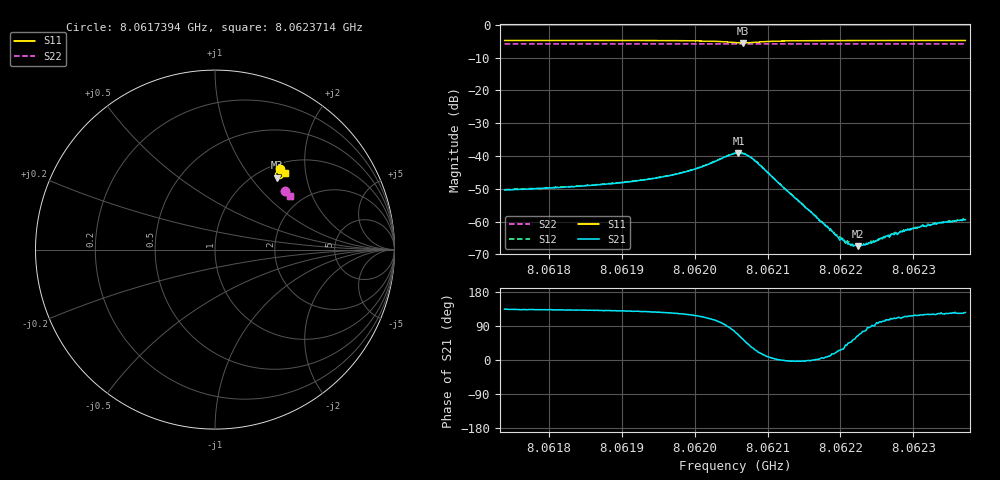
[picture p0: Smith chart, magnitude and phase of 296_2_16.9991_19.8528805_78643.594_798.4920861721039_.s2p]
#  HZ  S  RI  R  50.00
! Rohde & Schwarz Vector Network Analyzer
! Rohde-Schwarz,ZNB20-2Port,1311601062101988,3.16
! Created: UTC 3/20/2024, 11:05:18 PM
! freq[Hz]  re:S11  im:S11  re:S21  im:S21  re:S12  im:S12  re:S22  im:S22
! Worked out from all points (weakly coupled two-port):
!   401 points, 8.0617394 GHz to 8.0623714 GHz, reference 50 ohm
!   highest |S21| = -39.13 dB at 8.0620601 GHz (marker M1); lowest = -67.5 dB at 8.0622245 GHz (marker M2)
!   lowest |S11| = -5.5 dB at 8.0620664 GHz (marker M3), VSWR 3.25, Z = 61.1 + j68 ohm
!   |S11| at or under -10 dB: nowhere
!   |S22| runs from -5.9 to -5.8 dB; largest |S21 - S12| = 0.0009
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8.06173937e9  0.3605 0.449  -0.00211 0.00217  -0.00197 0.00235  0.3926 0.3278
8.06184523e9  0.368 0.4427  -0.00229 0.0026  -0.00219 0.00277  0.3966 0.3225
8.06190844e9  0.3728 0.4378  -0.00251 0.00311  -0.00241 0.00329  0.399 0.3193
8.0619511e9  0.3766 0.4331  -0.00276 0.00379  -0.00255 0.00401  0.4005 0.317
8.06200166e9  0.3809 0.4226  -0.00292 0.00569  -0.00256 0.00588  0.4024 0.3142
8.06205538e9  0.3605 0.3956  0.00303 0.0105  0.00367 0.0104  0.4028 0.3106
8.06206012e9  0.3537 0.3963  0.0045 0.0101  0.00514 0.00989  0.4029 0.3106
8.06206644e9  0.3452 0.4008  0.00632 0.00884  0.00692 0.00848  0.4027 0.3106
8.06207592e9  0.3381 0.4128  0.00771 0.00583  0.00813 0.00536  0.4029 0.3108
8.06208382e9  0.3383 0.4229  0.00741 0.00353  0.00774 0.0031  0.4034 0.3109
8.06212333e9  0.3576 0.4394  0.00317 -6.76e-05  0.00317 -0.000322  0.4058 0.3095
8.06216125e9  0.3679 0.4384  0.00135 -1.25e-05  0.00137 -9.75e-05  0.4076 0.3074
8.06218179e9  0.3715 0.4369  0.000821 0.000113  0.000851 6.74e-05  0.4084 0.3065
8.06219759e9  0.3737 0.4361  0.000501 0.000235  0.000542 0.000224  0.4091 0.3058
8.06221023e9  0.3752 0.4352  0.000326 0.000314  0.000372 0.000279  0.4096 0.3049
8.06221655e9  0.3758 0.4348  0.000277 0.000357  0.000272 0.000335  0.4097 0.3047
8.06222445e9  0.3767 0.4343  0.000181 0.000382  0.000218 0.000389  0.41 0.3041
8.06224025e9  0.3784 0.4332  2.71e-05 0.000468  3.49e-05 0.000457  0.4106 0.3034
8.06226711e9  0.3807 0.4316  -0.000154 0.000555  -0.000121 0.000589  0.4115 0.302
8.06228923e9  0.3825 0.4303  -0.000322 0.000677  -0.000311 0.000706  0.4124 0.301
8.06232716e9  0.3854 0.428  -0.000486 0.00079  -0.000442 0.000805  0.4138 0.299
8.0623714e9  0.3884 0.4257  -0.000618 0.00087  -0.000542 0.000908  0.4154 0.2965
